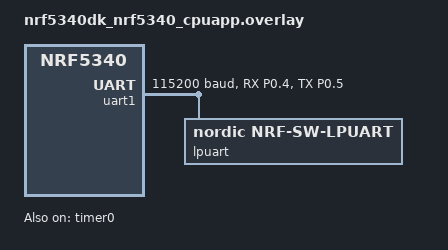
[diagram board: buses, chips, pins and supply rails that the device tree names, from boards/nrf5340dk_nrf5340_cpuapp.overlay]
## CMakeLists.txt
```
#
# Copyright (c) 2021 Nordic Semiconductor ASA
#
# SPDX-License-Identifier: LicenseRef-Nordic-5-Clause
#

cmake_minimum_required(VERSION 3.20.0)

find_package(Zephyr REQUIRED HINTS $ENV{ZEPHYR_BASE})
project(NONE)

target_sources_ifndef(CONFIG_NRF_SW_LPUART_INT_DRIVEN app PRIVATE
  src/common.c
  src/main.c
)
target_sources_ifdef(CONFIG_NRF_SW_LPUART_INT_DRIVEN app PRIVATE
  src/common.c
  src/int_driven.c
)
```

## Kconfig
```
#
# Copyright (c) 2022 Nordic Semiconductor
#
# SPDX-License-Identifier: LicenseRef-Nordic-5-Clause
#

config TEST_LPUART_TIMEOUT
	int "Test timeout (seconds)"
	default 1

config TEST_LPUART_LOOPBACK
	bool "Loopback"

source "Kconfig.zephyr"
```

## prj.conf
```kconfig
#
# Copyright (c) 2021-2023 Nordic Semiconductor
#
# SPDX-License-Identifier: LicenseRef-Nordic-5-Clause
#
CONFIG_ZTEST=y
CONFIG_XOSHIRO_RANDOM_GENERATOR=y
CONFIG_ENTROPY_GENERATOR=y

CONFIG_NRF_SW_LPUART=y
CONFIG_NRF_SW_LPUART_MAX_PACKET_SIZE=4
CONFIG_TEST_LOGGING_DEFAULTS=n
CONFIG_COUNTER=y

CONFIG_TEST_LPUART_TIMEOUT=10
CONFIG_PINCTRL_KEEP_SLEEP_STATE=y

CONFIG_ASSERT=y
```

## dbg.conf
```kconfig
CONFIG_USE_SEGGER_RTT=n
CONFIG_LOG=y
CONFIG_LOG_MODE_DEFERRED=y
CONFIG_LOG_BUFFER_SIZE=4096
CONFIG_LOG_PROCESS_THREAD_STACK_SIZE=2048
CONFIG_NRF_SW_LPUART_LOG_LEVEL_DBG=y

CONFIG_NO_OPTIMIZATIONS=y
CONFIG_PPI_TRACE=y
```

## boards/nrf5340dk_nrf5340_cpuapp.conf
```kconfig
#
# Copyright (c) 2026 Nordic Semiconductor
#
# SPDX-License-Identifier: LicenseRef-Nordic-5-Clause
#
CONFIG_UART_1_ASYNC=y
CONFIG_UART_1_INTERRUPT_DRIVEN=n
# Do not use interrupt driven API for console UART to not enable RX.
CONFIG_UART_0_INTERRUPT_DRIVEN=n
```

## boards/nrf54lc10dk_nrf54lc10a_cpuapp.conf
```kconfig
#
# Copyright (c) 2026 Nordic Semiconductor
#
# SPDX-License-Identifier: LicenseRef-Nordic-5-Clause
#
CONFIG_UART_21_ASYNC=y
CONFIG_UART_21_INTERRUPT_DRIVEN=n
# Do not use interrupt driven API for console UART to not enable RX.
CONFIG_UART_20_INTERRUPT_DRIVEN=n
```

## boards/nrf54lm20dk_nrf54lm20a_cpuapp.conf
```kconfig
#
# Copyright (c) 2024 Nordic Semiconductor
#
# SPDX-License-Identifier: LicenseRef-Nordic-5-Clause
#
CONFIG_UART_21_ASYNC=y
CONFIG_UART_21_INTERRUPT_DRIVEN=n
# Do not use interrupt driven API for console UART to not enable RX.
CONFIG_UART_20_INTERRUPT_DRIVEN=n
```

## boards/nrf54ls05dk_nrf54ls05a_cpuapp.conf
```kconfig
#
# Copyright (c) 2026 Nordic Semiconductor
#
# SPDX-License-Identifier: LicenseRef-Nordic-5-Clause
#

CONFIG_UART_21_ASYNC=y
CONFIG_UART_21_INTERRUPT_DRIVEN=n
# Do not use interrupt driven API for console UART to not enable RX.
CONFIG_UART_20_INTERRUPT_DRIVEN=n
```

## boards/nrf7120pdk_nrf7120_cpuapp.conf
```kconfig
#
# Copyright (c) 2025 Nordic Semiconductor
#
# SPDX-License-Identifier: LicenseRef-Nordic-5-Clause
#
CONFIG_UART_21_ASYNC=y
CONFIG_UART_21_INTERRUPT_DRIVEN=n
# Do not use interrupt driven API for console UART to not enable RX.
CONFIG_UART_20_INTERRUPT_DRIVEN=n
```

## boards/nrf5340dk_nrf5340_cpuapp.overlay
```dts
/*
 * Copyright (c) 2026 Nordic Semiconductor ASA
 *
 * SPDX-License-Identifier: LicenseRef-Nordic-5-Clause
 */

/* Two GPIO loopbacks are required:
 * Request-Response Pins: P0.06 - P0.07
 * UART RX-TX Pins: P0.04 - P0.05
 */

&pinctrl {
	uart1_default_alt: uart1_default_alt {
		group1 {
			psels = <NRF_PSEL(UART_RX, 0, 4)>,
				<NRF_PSEL(UART_TX, 0, 5)>;
		};
	};

	uart1_sleep_alt: uart1_sleep_alt {
		group1 {
			psels = <NRF_PSEL(UART_RX, 0, 4)>,
				<NRF_PSEL(UART_TX, 0, 5)>;
			low-power-enable;
		};
	};
};

&uart1 {
	status = "okay";
	pinctrl-0 = <&uart1_default_alt>;
	pinctrl-1 = <&uart1_sleep_alt>;
	pinctrl-names = "default", "sleep";
	current-speed = <115200>;

	lpuart: nrf-sw-lpuart {
		compatible = "nordic,nrf-sw-lpuart";
		status = "okay";
		req-pin = <6>; /* P0.06 */
		rdy-pin = <7>; /* P0.07 */
	};
};

&gpiote0 {
	status = "okay";
	interrupts = <13 1>;
};

&timer0 {
	status = "okay";
};

/ {
	busy-sim {
		compatible = "vnd,busy-sim";
		status = "okay";
		counter = <&timer0>;
	};
};
```

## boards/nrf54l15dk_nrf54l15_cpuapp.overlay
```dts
/* SPDX-License-Identifier: LicenseRef-Nordic-5-Clause */

&pinctrl {
	uart21_default_alt: uart21_default_alt {
		group1 {
			psels = <NRF_PSEL(UART_RX, 1, 10)>,
				<NRF_PSEL(UART_TX, 1, 11)>;
		};
	};

	uart21_sleep_alt: uart21_sleep_alt {
		group1 {
			psels = <NRF_PSEL(UART_RX, 1, 10)>,
				<NRF_PSEL(UART_TX, 1, 11)>;
			low-power-enable;
		};
	};
};

&uart21 {
	status = "okay";
	pinctrl-0 = <&uart21_default_alt>;
	pinctrl-1 = <&uart21_sleep_alt>;
	pinctrl-names = "default", "sleep";
	current-speed = <115200>;

	lpuart: nrf-sw-lpuart {
		compatible = "nordic,nrf-sw-lpuart";
		status = "okay";
		req-pin = <40>;
		rdy-pin = <41>;
	};
};

&gpiote20 {
	status = "okay";
};

&timer20 {
	status = "okay";
	interrupts = <202 0>;
};

/ {
	busy-sim {
		compatible = "vnd,busy-sim";
		status = "okay";
		counter = <&timer20>;
	};
};
```

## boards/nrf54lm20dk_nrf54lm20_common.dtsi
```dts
/*
 * Copyright (c) 2026 Nordic Semiconductor ASA
 *
 * SPDX-License-Identifier: LicenseRef-Nordic-5-Clause
 */

/* Two GPIO loopbacks are required:
 * Request-Response Pins: P1.13 - P1.14,
 * UART RX-TX Pins: P1.23 - P1.24
 */

&pinctrl {
	uart21_default_alt: uart21_default_alt {
		group1 {
			psels = <NRF_PSEL(UART_RX, 1, 23)>,
				<NRF_PSEL(UART_TX, 1, 24)>;
		};
	};

	uart21_sleep_alt: uart21_sleep_alt {
		group1 {
			psels = <NRF_PSEL(UART_RX, 1, 23)>,
				<NRF_PSEL(UART_TX, 1, 24)>;
			low-power-enable;
		};
	};
};

&uart21 {
	status = "okay";
	pinctrl-0 = <&uart21_default_alt>;
	pinctrl-1 = <&uart21_sleep_alt>;
	pinctrl-names = "default", "sleep";
	current-speed = <115200>;

	lpuart: nrf-sw-lpuart {
		compatible = "nordic,nrf-sw-lpuart";
		status = "okay";
		req-pin = <45>;
		rdy-pin = <46>;
	};
};

&gpiote20 {
	status = "okay";
};

&timer20 {
	status = "okay";
	interrupts = <202 0>;
};

/ {
	busy-sim {
		compatible = "vnd,busy-sim";
		status = "okay";
		counter = <&timer20>;
	};
};
```

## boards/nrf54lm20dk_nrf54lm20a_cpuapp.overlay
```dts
/* SPDX-License-Identifier: LicenseRef-Nordic-5-Clause */

/* Two GPIO loopbacks are required:
 * Request-Response Pins: P1.13 - P1.14,
 * UART RX-TX Pins: P1.23 - P1.24
 */

&pinctrl {
	uart21_default_alt: uart21_default_alt {
		group1 {
			psels = <NRF_PSEL(UART_RX, 1, 23)>,
				<NRF_PSEL(UART_TX, 1, 24)>;
		};
	};

	uart21_sleep_alt: uart21_sleep_alt {
		group1 {
			psels = <NRF_PSEL(UART_RX, 1, 23)>,
				<NRF_PSEL(UART_TX, 1, 24)>;
			low-power-enable;
		};
	};
};

&uart21 {
	status = "okay";
	pinctrl-0 = <&uart21_default_alt>;
	pinctrl-1 = <&uart21_sleep_alt>;
	pinctrl-names = "default", "sleep";
	current-speed = <115200>;

	lpuart: nrf-sw-lpuart {
		compatible = "nordic,nrf-sw-lpuart";
		status = "okay";
		req-pin = <45>;
		rdy-pin = <46>;
	};
};

&gpiote20 {
	status = "okay";
};

&timer20 {
	status = "okay";
	interrupts = <202 0>;
};

/ {
	busy-sim {
		compatible = "vnd,busy-sim";
		status = "okay";
		counter = <&timer20>;
	};
};
```

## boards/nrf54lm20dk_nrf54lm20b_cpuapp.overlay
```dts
/*
 * Copyright (c) 2026 Nordic Semiconductor ASA
 *
 * SPDX-License-Identifier: LicenseRef-Nordic-5-Clause
 */

#include "nrf54lm20dk_nrf54lm20_common.dtsi"
```

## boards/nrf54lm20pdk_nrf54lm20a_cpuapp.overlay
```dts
/* SPDX-License-Identifier: LicenseRef-Nordic-5-Clause */

/* Two GPIO loopbacks are required:
 * Request-Response Pins: P1.15 - P1.16,
 * UART RX-TX Pins: P1.18 - P1.24
 */

&pinctrl {
	uart21_default_alt: uart21_default_alt {
		group1 {
			psels = <NRF_PSEL(UART_RX, 1, 18)>,
				<NRF_PSEL(UART_TX, 1, 24)>;
		};
	};

	uart21_sleep_alt: uart21_sleep_alt {
		group1 {
			psels = <NRF_PSEL(UART_RX, 1, 18)>,
				<NRF_PSEL(UART_TX, 1, 24)>;
			low-power-enable;
		};
	};
};

&uart21 {
	status = "okay";
	pinctrl-0 = <&uart21_default_alt>;
	pinctrl-1 = <&uart21_sleep_alt>;
	pinctrl-names = "default", "sleep";
	current-speed = <115200>;
	lpuart: nrf-sw-lpuart {
		compatible = "nordic,nrf-sw-lpuart";
		status = "okay";
		req-pin = <47>;
		rdy-pin = <48>;
	};
};

&gpiote20 {
	status = "okay";
};

&timer20 {
	status = "okay";
	interrupts = <202 0>;
};

/ {
	busy-sim {
		compatible = "vnd,busy-sim";
		status = "okay";
		counter = <&timer20>;
	};
};
```

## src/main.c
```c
/*
 * Copyright (c) 2021 Nordic Semiconductor ASA
 *
 * SPDX-License-Identifier: LicenseRef-Nordic-5-Clause
 */
#include <zephyr/kernel.h>
#include <zephyr/ztest.h>
#include <zephyr/busy_sim.h>
#include <zephyr/drivers/uart.h>
#include "common.h"

static uint32_t tx_req_cnt;
static uint32_t tx_done_cnt;
static uint32_t tx_abort_cnt;
static uint32_t rx_cnt;
static volatile bool test_kill;
static volatile bool test_err;
static uint8_t rx_buf[5];
static bool buf_released;
static int test_time;

/* Timeout should be more than a millisecond as transfer setup with enabling
 * of HFXO can take more than a millisecond so if timeout is too short it can
 * expire before first byte is transferred.
 */
#define TX_TIMEOUT_US 10000

static K_SEM_DEFINE(uart_rx_buf_possession_sem, 1, 1);

static void kill_timer_handler(struct k_timer *timer)
{
	ARG_UNUSED(timer);

	TC_PRINT("TX_DONE: %d, RX_CNT:%d\n", tx_done_cnt, rx_cnt);
	test_time++;
	if (test_time == CONFIG_TEST_LPUART_TIMEOUT) {
		TC_PRINT("Killing test\n");
		k_timer_stop(timer);
		test_kill = true;
	}
}

static void report_error(void);

static void wdt_timer_handler(struct k_timer *timer)
{
	ARG_UNUSED(timer);
	TC_PRINT("Watchdog timer.\n");
	report_error();
}

static K_TIMER_DEFINE(kill_timer, kill_timer_handler, NULL);
static K_TIMER_DEFINE(wdt_timer, wdt_timer_handler, NULL);

static void tx_next_timeout(struct k_timer *timer);
static K_TIMER_DEFINE(tx_timer, tx_next_timeout, NULL);

static K_SEM_DEFINE(test_sem, 0, 1);

static void report_error(void)
{
	test_err = true;
	test_kill = true;
	k_timer_stop(&wdt_timer);
	k_sem_give(&test_sem);
}

static bool is_kill_packet(const uint8_t *buf, size_t len)
{
	static const uint8_t kill_packet[] = {0xFF, 0xFF, 0xFF, 0xFF};

	return (len == sizeof(kill_packet)) && (memcmp(buf, kill_packet, len) == 0);
}

static void next_tx(const struct device *dev)
{
	static uint8_t tx_buf[4];
	static size_t tx_len;

	if (test_kill) {
		memset(tx_buf, 0xFF, sizeof(tx_buf));
		tx_len = 4;
	} else {
		tx_len++;
		tx_len = (tx_len > 4) ? 1 : tx_len;
		tx_buf[0]++;
	}

	tx_req_cnt++;
	int err = uart_tx(dev, tx_buf, tx_len, TX_TIMEOUT_US);

	if (err != 0) {
		TC_PRINT("uart_tx returned err:%d\n", err);
		report_error();
	}
}

static void tx_next_timeout(struct k_timer *timer)
{
	const struct device *dev = k_timer_user_data_get(timer);

	next_tx(dev);
}

static void on_tx_done(const struct device *dev, struct uart_event *evt)
{
	tx_done_cnt++;

	if (is_kill_packet(evt->data.tx.buf, evt->data.tx.len)) {
		k_sem_give(&test_sem);
		return;
	}

	uint32_t delay_us = sys_rand32_get() % 1000;

	if (delay_us < 50) {
		next_tx(dev);
	} else {
		k_timer_start(&tx_timer, K_USEC(delay_us), K_NO_WAIT);
	}
}

static void on_rx_rdy(const struct device *dev, struct uart_event *evt)
{
	uint8_t id = evt->data.rx.buf[0];
	uint8_t exp_id;

	k_timer_stop(&wdt_timer);

	if (is_kill_packet(evt->data.rx.buf, evt->data.rx.len)) {
		TC_PRINT("Got kill packet\n");
		test_kill = true;
		return;
	}

	rx_cnt++;
	exp_id = (uint8_t)rx_cnt;

	if (id != exp_id) {
		TC_PRINT("Got: %d (0x%02x), exp: %d (0x%02x)\n", id, id, exp_id, exp_id);
		report_error();
	} else {
		k_timer_start(&wdt_timer, K_MSEC(500), K_NO_WAIT);
	}
}

static void on_rx_buf_req(const struct device *dev)
{

	int err;

	if (!buf_released) {
		TC_PRINT("Requested buffer before releasing previous one\n");
		report_error();
	}

	buf_released = false;
	err = uart_rx_buf_rsp(dev, rx_buf, sizeof(rx_buf));
	if (err != 0) {
		TC_PRINT("uart_rx_buf_rsp returned err: %d\n", err);
		report_error();
	}
}

static void uart_callback(const struct device *dev, struct uart_event *evt, void *user_data)
{
	switch (evt->type) {
	case UART_TX_DONE:
		on_tx_done(dev, evt);
		break;

	case UART_TX_ABORTED:
		tx_abort_cnt++;
		TC_PRINT("Unexpected TX aborted.\n");
		report_error();
		break;

	case UART_RX_RDY:
		on_rx_rdy(dev, evt);
		break;

	case UART_RX_BUF_REQUEST:
		zassert_equal(k_sem_take(&uart_rx_buf_possession_sem, K_NO_WAIT), 0);
		on_rx_buf_req(dev);
		break;

	case UART_RX_BUF_RELEASED:
		buf_released = true;
		k_sem_give(&uart_rx_buf_possession_sem);
		break;

	case UART_RX_DISABLED:
		break;

	case UART_RX_STOPPED:
		TC_PRINT("Unexpected RX stopped event.\n");
		report_error();
		break;
	}
}

int __weak bt_hci_transport_setup(const struct device *h4)
{
	return 0;
}

ZTEST(test_lpuart_stress, test_stress)
{
	const struct device *lpuart = DEVICE_DT_GET(DT_NODELABEL(lpuart));
	int err;

	(void)bt_hci_transport_setup(NULL);

	if (IS_ENABLED(CONFIG_TEST_BUSY_SIM)) {
		busy_sim_start(500, 400, 600, 550, NULL);
	}

	zassert_true(device_is_ready(lpuart), NULL);

	uart_callback_set(lpuart, uart_callback, NULL);

	buf_released = false;
	err = uart_rx_enable(lpuart, rx_buf, sizeof(rx_buf), 100);
	zassert_equal(err, 0, NULL);

	if (!IS_ENABLED(CONFIG_BOARD_NRF9160DK_NRF52840)) {
		k_msleep(1000);
	}

	k_timer_start(&kill_timer, K_MSEC(1000), K_MSEC(1000));
	k_timer_start(&wdt_timer, K_MSEC(2000), K_NO_WAIT);
	k_timer_user_data_set(&tx_timer, (void *)lpuart);

	next_tx(lpuart);

	err = k_sem_take(&test_sem, K_MSEC(1000 * CONFIG_TEST_LPUART_TIMEOUT + 100));
	k_timer_stop(&wdt_timer);
	k_timer_stop(&kill_timer);
	zassert_equal(err, 0, NULL);
	zassert_false(test_err, NULL);
	/* Detect premature kill packet. */
	zassert_true(rx_cnt > 100);
	zassert_equal(tx_req_cnt, tx_done_cnt, NULL);

	k_msleep(100);

	err = uart_rx_disable(lpuart);
	zassert_equal(err, 0, NULL);
	TC_PRINT("UART RX disabled\n");

	TC_PRINT("Waiting for UART RX buffer release\n");
	zassert_equal(k_sem_take(&uart_rx_buf_possession_sem, K_MSEC(100)), 0);
	TC_PRINT("UART RX BUFFER released\n");

	if (IS_ENABLED(CONFIG_TEST_BUSY_SIM)) {
		busy_sim_stop();
	}
}

static uint8_t tx_buf[] = {0xA, 0xAA, 0xB, 0xBB};

static void resilency_uart_callback(const struct device *dev, struct uart_event *evt,
				    void *user_data)
{
	switch (evt->type) {
	case UART_TX_DONE:
		if ((evt->data.tx.buf != tx_buf) || (evt->data.tx.len != sizeof(tx_buf))) {
			report_error();
		}
		break;

	case UART_TX_ABORTED:
		TC_PRINT("Unexpected TX aborted.\n");
		report_error();
		break;

	case UART_RX_RDY:
		if (evt->data.rx.len != sizeof(tx_buf)) {
			report_error();
		}
		if (memcmp(evt->data.rx.buf, tx_buf, sizeof(tx_buf)) != 0) {
			report_error();
		}
		break;

	case UART_RX_BUF_REQUEST:
		break;

	case UART_RX_BUF_RELEASED:
		break;

	case UART_RX_DISABLED:
		break;

	case UART_RX_STOPPED:
		TC_PRINT("Unexpected RX stopped event.\n");
		report_error();
		break;
	}
}

static void tx_abort_expected_callback(const struct device *dev, struct uart_event *evt,
				       void *user_data)
{
	switch (evt->type) {
	case UART_TX_ABORTED:
		tx_abort_cnt++;
		TC_PRINT("TX aborted.\n");
		break;
	case UART_TX_DONE:
		TC_PRINT("UART_TX_DONE.\n");
		break;
	case UART_RX_RDY:
		TC_PRINT("UART_RX_RDY.\n");
		break;
	case UART_RX_BUF_REQUEST:
		TC_PRINT("UART_RX_BUF_REQUEST.\n");
		break;
	case UART_RX_BUF_RELEASED:
		TC_PRINT("UART_RX_BUF_RELEASED.\n");
		break;
	case UART_RX_DISABLED:
		TC_PRINT("UART_RX_DISABLED.\n");
		break;
	case UART_RX_STOPPED:
		TC_PRINT("UART_RX_STOPPED.\n");
		break;
	}
}

static void validate_lpuart(const struct device *lpuart)
{
	int err;

	k_timer_start(&wdt_timer, K_MSEC(200), K_NO_WAIT);

	err = uart_tx(lpuart, tx_buf, sizeof(tx_buf), TX_TIMEOUT_US);
	zassert_equal(err, 0, NULL);

	k_msleep(10);

	k_timer_stop(&wdt_timer);
	zassert_false(test_err, NULL);
}

static void test_resilency(bool tx_pin_float)
{
	const struct device *lpuart = DEVICE_DT_GET(DT_NODELABEL(lpuart));
	uint32_t t = k_uptime_get_32() + 3000;
	int err;
	NRF_UARTE_Type *uarte = (NRF_UARTE_Type *)DT_REG_ADDR(DT_INST_BUS(0));
	int32_t tx_pin = nrf_uarte_tx_pin_get(uarte);

	if (!IS_ENABLED(CONFIG_TEST_LPUART_LOOPBACK)) {
		return;
	}

	zassert_true(device_is_ready(lpuart), NULL);

	uart_callback_set(lpuart, resilency_uart_callback, NULL);

	while (k_uptime_get_32() < t) {
		err = uart_rx_enable(lpuart, rx_buf, sizeof(rx_buf), 100);
		zassert_equal(err, 0, "Unexpected err:%d", err);

		floating_pins_start(true, tx_pin_float ? tx_pin : -1);
		k_msleep(100);
		floating_pins_stop(true, tx_pin_float ? tx_pin : -1);
		k_msleep(2);

		validate_lpuart(lpuart);

		err = uart_rx_disable(lpuart);
		zassert_equal(err, 0, "Unexpected err:%d", err);
	}
}

ZTEST(test_lpuart_resilency, test_resilency_no_tx_pin_float)
{
	test_resilency(false);
}

ZTEST(test_lpuart_resilency, test_resilency_with_tx_pin_float)
{
	test_resilency(true);
}

ZTEST(test_lpuart_resilency, test_tx_abort_rx_not_enabled)
{
	Z_TEST_SKIP_IFNDEF(CONFIG_TEST_LPUART_LOOPBACK);

	int err;
	const struct device *lpuart = DEVICE_DT_GET(DT_NODELABEL(lpuart));

	zassert_true(device_is_ready(lpuart), NULL);
	uart_callback_set(lpuart, tx_abort_expected_callback, NULL);

	err = uart_tx(lpuart, tx_buf, sizeof(tx_buf), TX_TIMEOUT_US);
	zassert_equal(err, 0, "uart_tx - unexpected err: %d", err);
	k_msleep(10);
	zassert_equal(tx_abort_cnt, 1, "tx_abort_cnt != 1: %d", tx_abort_cnt);
	tx_abort_cnt = 0;
}

ZTEST(test_lpuart_resilency, test_tx_abort_from_api)
{
	Z_TEST_SKIP_IFNDEF(CONFIG_TEST_LPUART_LOOPBACK);

	int err;
	uint8_t tx_buffer[50] = {0};
	uint8_t rx_buffer[50] = {0};
	const struct device *lpuart = DEVICE_DT_GET(DT_NODELABEL(lpuart));

	zassert_true(device_is_ready(lpuart), NULL);
	uart_callback_set(lpuart, tx_abort_expected_callback, NULL);

	err = uart_rx_enable(lpuart, rx_buffer, sizeof(rx_buffer), 100);
	zassert_equal(err, 0, "uart_rx_enable - unexpected err:%d", err);
	err = uart_tx(lpuart, tx_buffer, sizeof(tx_buffer), TX_TIMEOUT_US);
	zassert_equal(err, 0, "uart_tx - unexpected err:%d", err);
	k_usleep(100);
	err = uart_tx_abort(lpuart);
	zassert_equal(err, 0, "uart_tx_abort - unexpected err:%d", err);
	k_msleep(10);
	err = uart_rx_disable(lpuart);
	zassert_equal(err, 0, "uart_rx_disable - unexpected err:%d", err);
	zassert_equal(tx_abort_cnt, 1, "tx_abort_cnt != 1: %d", tx_abort_cnt);
	tx_abort_cnt = 0;
}

static void *suite_setup(void)
{
	/* Read first random number. There are some generators which do not support
	 * reading first random number from an interrupt context (initialization
	 * is performed at the first read).
	 */
	(void)sys_rand32_get();

	return NULL;
}

ZTEST_SUITE(test_lpuart_stress, NULL, suite_setup, NULL, NULL, NULL);
ZTEST_SUITE(test_lpuart_resilency, NULL, suite_setup, NULL, NULL, NULL);
```

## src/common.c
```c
/*
 * Copyright (c) 2025 Nordic Semiconductor ASA
 *
 * SPDX-License-Identifier: LicenseRef-Nordic-5-Clause
 */
#include "common.h"

static const struct device *counter =
	DEVICE_DT_GET(DT_PHANDLE(DT_COMPAT_GET_ANY_STATUS_OKAY(vnd_busy_sim), counter));
static struct test_data test_data;

static void next_alarm(const struct device *counter, struct counter_alarm_cfg *alarm_cfg)
{
	int err;
	int mul = IS_ENABLED(CONFIG_NO_OPTIMIZATIONS) ? 10 : 1;

	alarm_cfg->ticks = (50 + sys_rand32_get() % 300) * mul;

	err = counter_set_channel_alarm(counter, 0, alarm_cfg);
	__ASSERT_NO_MSG(err == 0);
}

static nrf_gpio_pin_pull_t pin_toggle(uint32_t pin, nrf_gpio_pin_pull_t pull)
{
	nrf_gpio_cfg(pin, NRF_GPIO_PIN_DIR_INPUT, NRF_GPIO_PIN_INPUT_DISCONNECT, pull,
		     NRF_GPIO_PIN_S0S1, NRF_GPIO_PIN_NOSENSE);
	return (pull == NRF_GPIO_PIN_PULLUP) ? NRF_GPIO_PIN_PULLDOWN : NRF_GPIO_PIN_PULLUP;
}

void pins_toggle(int32_t tx_pin)
{
	static nrf_gpio_pin_pull_t pull = NRF_GPIO_PIN_PULLUP;
	static nrf_gpio_pin_pull_t tx_pull = NRF_GPIO_PIN_PULLUP;
	bool req_rdy_pin_toggle;
	bool tx_pin_toggle;

	if (tx_pin > 0) {
		uint32_t rnd = sys_rand32_get();

		req_rdy_pin_toggle = (rnd & 0x6) == 0;
		tx_pin_toggle = rnd & 0x1;
	} else {
		req_rdy_pin_toggle = true;
		tx_pin_toggle = false;
	}

	if (req_rdy_pin_toggle) {
		pull = pin_toggle(test_data.req_rdy_pin, pull);
	}

	if (tx_pin_toggle) {
		tx_pull = pin_toggle(tx_pin, tx_pull);
	}
}

void pins_to_default(bool use_req_pin, int32_t tx_pin)
{
	uint32_t pin = test_data.req_rdy_pin;
	NRF_GPIO_Type *reg = nrf_gpio_pin_port_decode(&pin);

	reg->PIN_CNF[pin] = test_data.req_rdy_cnf;
	if (tx_pin > 0) {
		nrf_gpio_cfg(tx_pin, NRF_GPIO_PIN_DIR_OUTPUT, NRF_GPIO_PIN_INPUT_DISCONNECT,
			     NRF_GPIO_PIN_NOPULL, NRF_GPIO_PIN_S0S1, NRF_GPIO_PIN_NOSENSE);
	}
}

void counter_alarm_callback(const struct device *dev, uint8_t chan_id, uint32_t ticks,
			    void *user_data)
{
	struct test_data *data = (struct test_data *)user_data;

	pins_toggle(data->tx_pin);
	next_alarm(dev, &data->alarm_cfg);
}

void floating_pins_start(bool use_req_pin, int32_t tx_pin)
{
	uint32_t req_rdy_pin = use_req_pin ?
		DT_INST_PROP(0, req_pin) : DT_INST_PROP(0, rdy_pin);

	test_data.alarm_cfg.callback = counter_alarm_callback;
	test_data.alarm_cfg.flags = COUNTER_ALARM_CFG_EXPIRE_WHEN_LATE;
	test_data.alarm_cfg.user_data = (void *)&test_data;
	test_data.tx_pin = use_req_pin ? tx_pin : -1;
	test_data.req_rdy_pin = req_rdy_pin;

	NRF_GPIO_Type *reg = nrf_gpio_pin_port_decode(&req_rdy_pin);

	test_data.req_rdy_cnf = reg->PIN_CNF[req_rdy_pin];

	counter_start(counter);
	next_alarm(counter, &test_data.alarm_cfg);
}

void floating_pins_stop(bool use_req_pin, int32_t tx_pin)
{
	counter_cancel_channel_alarm(counter, 0);
	counter_stop(counter);
	pins_to_default(use_req_pin, tx_pin);
}
```

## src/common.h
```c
/*
 * Copyright (c) 2025 Nordic Semiconductor ASA
 *
 * SPDX-License-Identifier: LicenseRef-Nordic-5-Clause
 */

#include <zephyr/drivers/counter.h>
#include <zephyr/random/random.h>
#include <hal/nrf_gpio.h>
#include <hal/nrf_uarte.h>
#include <nrfx_gpiote.h>

#define DT_DRV_COMPAT nordic_nrf_sw_lpuart

struct test_data {
	struct counter_alarm_cfg alarm_cfg;
	int32_t tx_pin;
	uint32_t req_rdy_pin;
	uint32_t req_rdy_cnf;
};

/** @brief Starting pin floating.
 *
 *
 * @param use_req_pin Float REQ pin if true. Float RDY pin if false.
 * @param tx_pin Additionally float TX pin, valid only if @p use_req_pin is true.
 */
void floating_pins_start(bool use_req_pin, int32_t tx_pin);

/** @brief Stop pin floating. */
void floating_pins_stop(bool use_req_pin, int32_t tx_pin);
```

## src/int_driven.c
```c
/*
 * Copyright (c) 2025 Nordic Semiconductor ASA
 *
 * SPDX-License-Identifier: LicenseRef-Nordic-5-Clause
 */
#include <zephyr/kernel.h>
#include <zephyr/ztest.h>
#include <zephyr/drivers/uart.h>
#include "common.h"

#define TEST_BUFFER_LEN 30

static K_SEM_DEFINE(uart_transmission_done_sem, 0, 1);

const struct device *lpuart = DEVICE_DT_GET(DT_NODELABEL(lpuart));

const uint8_t test_pattern[TEST_BUFFER_LEN] = {
	0x11, 0x12, 0x13, 0x14, 0x15, 0x16, 0x17, 0x18, 0x19, 0x20, 0x21, 0x22, 0x23, 0x24, 0x25,
	0x26, 0x27, 0x28, 0x29, 0x30, 0x31, 0x32, 0x33, 0x34, 0x35, 0x36, 0x37, 0x38, 0x39, 0x40};
static uint8_t test_buffer[TEST_BUFFER_LEN];
static int tx_byte_offset;
static int rx_byte_offset;

static void uart_tx_interrupt_service(const struct device *dev, int *tx_byte_offset)
{
	uint8_t bytes_sent = 0;
	uint8_t *tx_data_pointer = (uint8_t *)(test_pattern + *tx_byte_offset);

	if (*tx_byte_offset < TEST_BUFFER_LEN) {
		bytes_sent = uart_fifo_fill(dev, tx_data_pointer, 1);
		*tx_byte_offset += bytes_sent;
	} else {
		*tx_byte_offset = 0;
		uart_irq_tx_disable(dev);
		k_sem_give(&uart_transmission_done_sem);
	}
}

static void uart_rx_interrupt_service(const struct device *dev, uint8_t *receive_buffer_pointer,
				      int *rx_byte_offset)
{
	int rx_data_length = 0;

	do {
		rx_data_length = uart_fifo_read(dev, receive_buffer_pointer + *rx_byte_offset,
						TEST_BUFFER_LEN);
		*rx_byte_offset += rx_data_length;
	} while (rx_data_length);
}

static void lpuart_isr_handler(const struct device *dev, void *user_data)
{
	uart_irq_update(dev);
	while (uart_irq_is_pending(dev)) {
		if (uart_irq_rx_ready(dev)) {
			uart_rx_interrupt_service(dev, (uint8_t *)user_data, &rx_byte_offset);
		}
		if (uart_irq_tx_ready(dev)) {
			uart_tx_interrupt_service(dev, &tx_byte_offset);
		}
	}
}

static void wait_and_check(uint32_t skip, uint32_t offset)
{
	TC_PRINT("Waiting for transmission to finish %d %d\n", skip, offset);
	zassert_equal(k_sem_take(&uart_transmission_done_sem, K_MSEC(100)), 0);
	TC_PRINT("Transmission done\n");

	uart_irq_tx_disable(lpuart);
	uart_irq_rx_disable(lpuart);
	uart_irq_err_disable(lpuart);

	for (int index = skip; index < (TEST_BUFFER_LEN - offset); index++) {
		zassert_equal(test_buffer[index], test_pattern[index + offset],
			      "Received data byte %d does not match pattern 0x%x != 0x%x", index,
			      test_buffer[index], test_pattern[index + offset]);
	}
}

static void test_transmission(bool rx, bool is_tx_pin_float_enabled)
{
	int err;
	NRF_UARTE_Type *uarte = (NRF_UARTE_Type *)DT_REG_ADDR(DT_INST_BUS(0));
	int32_t tx_pin = nrf_uarte_tx_pin_get(uarte);

	err = uart_irq_callback_set(lpuart, lpuart_isr_handler);
	zassert_equal(err, 0, "Unexpected error when setting callback for LPUART %d", err);

	err = uart_irq_callback_user_data_set(lpuart, lpuart_isr_handler, (void *)test_buffer);
	zassert_equal(err, 0, "Unexpected error when setting user data for callback %d", err);

	uart_irq_err_enable(lpuart);
	if (rx) {
		uart_irq_rx_enable(lpuart);
	} else {
		uart_irq_tx_enable(lpuart);
	}

	TC_PRINT("Starting floating pins\n");
	floating_pins_start(rx, is_tx_pin_float_enabled ? tx_pin : -1);
	k_msleep(90);
	TC_PRINT("Stopping floating pins\n");
	floating_pins_stop(rx, is_tx_pin_float_enabled ? tx_pin : -1);

	if (rx) {
		uart_irq_tx_enable(lpuart);
	} else {
		uart_irq_rx_enable(lpuart);
	}

	wait_and_check(0, 0);
}

ZTEST(test_lpuart_int_driven, test_rx_no_tx_pin_float)
{
	Z_TEST_SKIP_IFNDEF(CONFIG_TEST_LPUART_LOOPBACK);

	tx_byte_offset = 0;
	rx_byte_offset = 0;

	test_transmission(true, false);
}

ZTEST(test_lpuart_int_driven, test_rx_with_tx_pin_float)
{
	Z_TEST_SKIP_IFNDEF(CONFIG_TEST_LPUART_LOOPBACK);

	tx_byte_offset = 0;
	rx_byte_offset = 0;

	test_transmission(true, true);
}

ZTEST(test_lpuart_int_driven, test_tx_resiliency)
{
	Z_TEST_SKIP_IFNDEF(CONFIG_TEST_LPUART_LOOPBACK);

	tx_byte_offset = 0;
	rx_byte_offset = 0;

	test_transmission(false, false);
}

ZTEST(test_lpuart_int_driven, test_tx_timeout)
{
	Z_TEST_SKIP_IFNDEF(CONFIG_TEST_LPUART_LOOPBACK);
	int err;

	tx_byte_offset = 0;
	rx_byte_offset = 0;

	err = uart_irq_callback_set(lpuart, lpuart_isr_handler);
	zassert_equal(err, 0, "Unexpected error when setting callback for LPUART %d", err);

	err = uart_irq_callback_user_data_set(lpuart, lpuart_isr_handler, (void *)test_buffer);
	zassert_equal(err, 0, "Unexpected error when setting user data for callback %d", err);

	uart_irq_err_enable(lpuart);
	uart_irq_tx_enable(lpuart);

	k_sleep(K_USEC((CONFIG_NRF_SW_LPUART_DEFAULT_TX_TIMEOUT * 11) / 10));

	zassert_true(tx_byte_offset != 0);

	uart_irq_rx_enable(lpuart);
	/* RX is enabled during the initialization so first byte will be received but as
	 * it is not read out it will result in timeout and then second byte will be lost.
	 * Starting from the third byte reception is ok. Received buffer validation need to
	 * take that into account.
	 */
	wait_and_check(1, 1);
}

static void *suite_setup(void)
{
	zassert_true(device_is_ready(lpuart), "LPUART device is not ready");

	return NULL;
}

ZTEST_SUITE(test_lpuart_int_driven, NULL, suite_setup, NULL, NULL, NULL);
```
